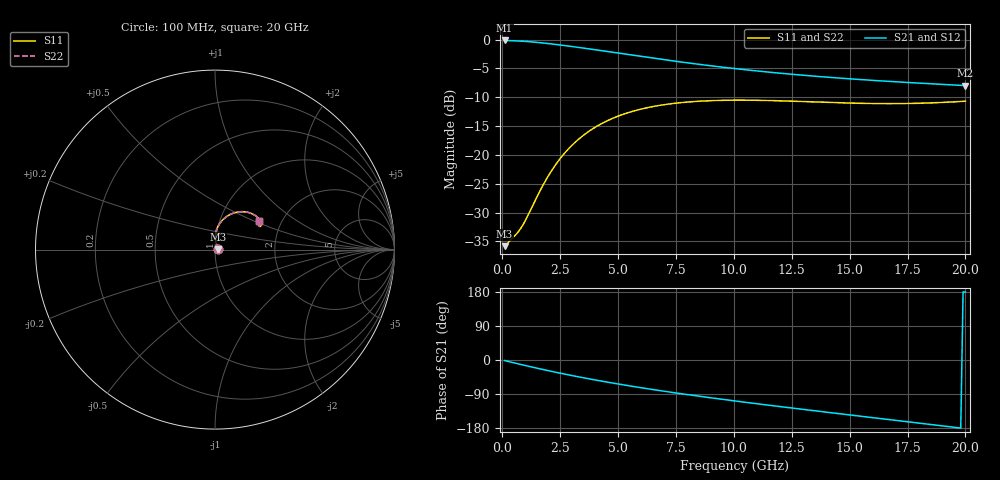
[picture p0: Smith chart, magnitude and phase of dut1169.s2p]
! Touchstone file exported from HFSS 2024.1.0
!  File:  C:/UserFiles/LocalFiles/RDL_TSV_Batchsim/temp_RDL_TSV_1169_1780122703.aedt
!  Generated:  02:46:07 PM May 30, 2026
!  Design:  RDL_TSV
!  Project:  temp_RDL_TSV_1169_1780122703
!  Setup:  Setup1
!  Solution:  Sweep
! Variables:
!  dtsv = 7.83um
!  hbump = 3um
!  htsv = 82.34um
!  ldown = 396.78um
!  lrdl = 310.48um
!  p = 40
!  p1 = 40.38um
!  rhole = 10um
!  subl = 2432.26um
!  t = 450um
!  tdown = 3.98um
!  trdl = 3.66um
!  viad = 10um
!  wdown = 18.92um
!  wrdl = 12.79um
!  xbump = 18um
# GHz S MA R 50.000000
! Terminal data exported
! Port[1] = TM1_1_T1
! Port[2] = TM1_4_T1
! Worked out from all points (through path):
!   200 points, 100 MHz to 20 GHz, reference 50 ohm
!   highest |S21| = -0.14 dB at 100 MHz (marker M1); lowest = -8.0 dB at 20 GHz (marker M2)
!   group delay of S21, straight-line fit = 23.8 ps
!   lowest |S11| = -35.8 dB at 100 MHz (marker M3), VSWR 1.03, Z = 51.6 + j0.276 ohm
!   |S11| at or under -10 dB: start of sweep to end of sweep
!   |S22| runs from -35.8 to -10.5 dB; largest |S21 - S12| = 9.8e-15
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0.1  0.01618 9.5  0.9838 -1.5  0.9838 -1.5  0.01618 9.5
! Gamma 0 0 0 0
! Port Impedance 50 0 50 0
0.6  0.02053 43.1  0.976 -8.9  0.976 -8.9  0.02053 43.1
0.8  0.02313 55.2  0.9711 -11.8  0.9711 -11.8  0.02312 55.3
1  0.02707 66.1  0.9652 -14.7  0.9652 -14.7  0.02707 66.2
1.8  0.05666 87.0  0.9335 -25.7  0.9335 -25.7  0.05668 87.1
2.3  0.0822 88.1  0.9092 -32.3  0.9092 -32.3  0.08224 88.1
2.6  0.09859 86.8  0.8936 -36.1  0.8936 -36.1  0.09866 86.9
2.9  0.1152 84.8  0.8776 -39.8  0.8776 -39.8  0.1153 84.9
3.5  0.1479 79.7  0.845 -46.9  0.845 -46.9  0.148 79.8
4.2  0.1829 73.1  0.8069 -54.8  0.8069 -54.8  0.1831 73.2
4.9  0.2131 66.6  0.7698 -62.2  0.7698 -62.2  0.2134 66.7
5.8  0.2443 58.8  0.7244 -71.3  0.7244 -71.3  0.2446 58.9
6.8  0.2692 51.3  0.6782 -80.8  0.6782 -80.8  0.2695 51.4
7.6  0.2827 46.1  0.6446 -87.9  0.6446 -87.9  0.2831 46.2
8.4  0.2916 41.6  0.6142 -94.7  0.6142 -94.7  0.2919 41.7
10.1  0.2986 34.3  0.5593 -108.5  0.5593 -108.5  0.299 34.4
11.7  0.2959 29.8  0.5182 -120.7  0.5182 -120.7  0.2963 29.9
13.4  0.2886 27.4  0.4835 -133.3  0.4835 -133.3  0.289 27.5
15  0.2818 27.2  0.4573 -144.9  0.4573 -144.9  0.2822 27.3
16.7  0.2786 28.5  0.4345 -157.2  0.4345 -157.2  0.279 28.7
18.3  0.2818 30.7  0.4164 -168.7  0.4164 -168.7  0.2822 30.8
20  0.2926 32.9  0.3996 179.0  0.3996 179.0  0.293 33.1
